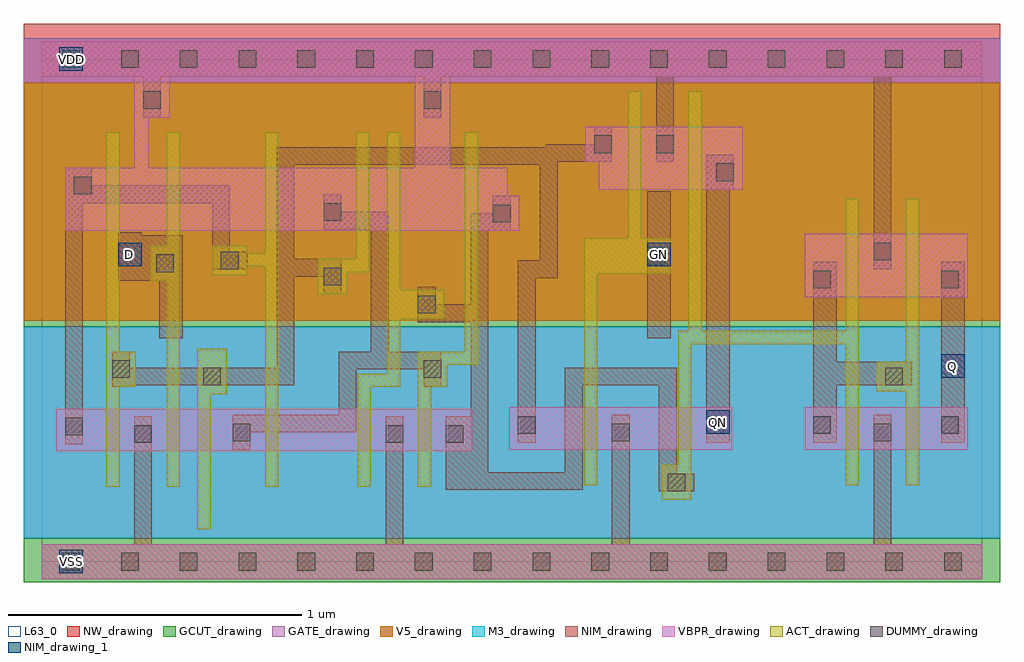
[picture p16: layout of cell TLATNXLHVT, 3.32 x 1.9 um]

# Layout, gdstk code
import gdstk
lib = gdstk.Library(unit=1e-6, precision=5e-10)
def R(c, l, rs):  # rectangles x0, y0, x1, y1
    for r in rs: c.add(gdstk.rectangle(r[:2], r[2:], *l))
def A(c, l, x, y, w, h, nx, ny, dx, dy):  # array of equal rectangles
    R(c, l, [(x+i*dx, y+j*dy, x+i*dx+w, y+j*dy+h) for i in range(nx) for j in range(ny)])
def P(c, l, *ps):  # polygons
    for p in ps: c.add(gdstk.Polygon(p, *l))
VBPR_drawing = (1, 0)
NW_drawing = (2, 0)
ACT_drawing = (3, 0)
GATE_drawing = (4, 0)
GCUT_drawing = (5, 0)
DUMMY_drawing = (6, 0)
NIM_drawing = (7, 0)
NIM_drawing_1 = (7, 1)
M3_drawing = (18, 0)
V5_drawing = (23, 0)
L63_0 = (63, 0)

tlatnxlhvt = lib.new_cell('TLATNXLHVT')
R(tlatnxlhvt, VBPR_drawing, [(0,-0.06,3.2,0.06), (0.05,0.375,1.465,0.52), (1.59,0.38,2.35,0.525), (2.595,0.38,3.15,0.525), (2.595,0.9,3.15,1.115), (0,1.65,3.2,1.77)])
P(tlatnxlhvt, VBPR_drawing, [(1.625,1.245),(1.585,1.245),(1.585,1.34),(1.39,1.34),(1.39,1.65),(1.27,1.65),(1.27,1.34),(0.365,1.34),(0.365,1.51),(0.435,1.51),(0.435,1.65),(0.315,1.65),(0.315,1.34),(0.08,1.34),(0.08,1.125),(1.625,1.125)],
  [(1.85,1.48),(2.385,1.48),(2.385,1.265),(1.895,1.265),(1.895,1.36),(1.85,1.36)])
R(tlatnxlhvt, NW_drawing, [(-0.06,0.82,3.26,1.83)])
P(tlatnxlhvt, ACT_drawing, [(1.995,1.6),(2.04,1.6),(2.04,1.1),(2.14,1.1),(2.14,0.98),(1.89,0.98),(1.89,0.26),(1.845,0.26),(1.845,1.1),(1.995,1.1)],
  [(2.2,1.6),(2.245,1.6),(2.245,0.785),(2.735,0.785),(2.735,1.235),(2.78,1.235),(2.78,0.26),(2.735,0.26),(2.735,0.74),(2.21,0.74),(2.21,0.21),(2.11,0.21),(2.11,0.33),(2.165,0.33),(2.165,0.785),(2.2,0.785)],
  [(0.22,1.46),(0.265,1.46),(0.265,0.715),(0.32,0.715),(0.32,0.595),(0.265,0.595),(0.265,0.255),(0.22,0.255)],
  [(0.425,1.46),(0.47,1.46),(0.47,0.255),(0.425,0.255),(0.425,0.955),(0.37,0.955),(0.37,1.075),(0.425,1.075)],
  [(0.58,1.075),(0.7,1.075),(0.7,1.05),(0.76,1.05),(0.76,1.46),(0.805,1.46),(0.805,0.255),(0.76,0.255),(0.76,1.005),(0.7,1.005),(0.7,0.975),(0.58,0.975)],
  [(1.07,1.46),(1.115,1.46),(1.115,0.985),(1.04,0.985),(1.04,0.91),(0.94,0.91),(0.94,1.03),(1.07,1.03)],
  [(1.175,1.46),(1.22,1.46),(1.22,0.925),(1.37,0.925),(1.37,0.825),(1.22,0.825),(1.22,0.595),(1.12,0.595),(1.12,0.255),(1.075,0.255),(1.075,0.64),(1.175,0.64)],
  [(1.44,1.46),(1.485,1.46),(1.485,0.67),(1.38,0.67),(1.38,0.595),(1.325,0.595),(1.325,0.255),(1.28,0.255),(1.28,0.715),(1.44,0.715)],
  [(2.94,1.235),(2.985,1.235),(2.985,0.26),(2.94,0.26),(2.94,0.58),(2.84,0.58),(2.84,0.68),(2.94,0.68)],
  [(0.53,0.725),(0.63,0.725),(0.63,0.57),(0.575,0.57),(0.575,0.11),(0.53,0.11)])
R(tlatnxlhvt, GATE_drawing, [(-0.06,0.08,3.26,0.8), (-0.06,1.63,3.26,1.78)])
R(tlatnxlhvt, GCUT_drawing, [(-0.06,-0.07,3.26,0.08), (-0.06,0.8,3.26,1.63)])
A(tlatnxlhvt, DUMMY_drawing, 0.07, -0.03, 0.06, 0.06, 16, 2, 0.2, 1.71)
R(tlatnxlhvt, DUMMY_drawing, [(2.13,0.24,2.19,0.3), (0.315,0.405,0.375,0.465), (1.17,0.405,1.23,0.465), (1.375,0.405,1.435,0.465), (0.65,0.41,0.71,0.47), (1.94,0.41,2,0.47), (2.83,0.41,2.89,0.47), (0.08,0.43,0.14,0.49), (1.62,0.435,1.68,0.495), (2.26,0.435,2.32,0.495), (2.625,0.435,2.685,0.495), (3.06,0.435,3.12,0.495), (0.55,0.6,0.61,0.66), (2.87,0.6,2.93,0.66), (0.24,0.625,0.3,0.685), (1.3,0.625,1.36,0.685), (1.28,0.845,1.34,0.905), (2.625,0.93,2.685,0.99), (3.06,0.93,3.12,0.99), (0.96,0.94,1.02,1), (0.39,0.985,0.45,1.045), (0.61,0.995,0.67,1.055), (2.06,1.01,2.12,1.07), (2.83,1.025,2.89,1.085), (1.535,1.155,1.595,1.215), (0.96,1.16,1.02,1.22), (0.11,1.25,0.17,1.31), (2.295,1.295,2.355,1.355), (1.88,1.39,1.94,1.45), (2.09,1.39,2.15,1.45), (0.345,1.54,0.405,1.6), (1.3,1.54,1.36,1.6)])
R(tlatnxlhvt, NIM_drawing, [(0.315,0.06,0.375,0.495), (1.17,0.06,1.23,0.495), (1.94,0.06,2,0.5), (2.83,0.06,2.89,0.5), (3.06,0.405,3.14,1.02), (2.06,0.76,2.14,1.26), (2.83,0.995,2.89,1.65), (2.09,1.36,2.15,1.65), (0.345,1.51,0.405,1.65), (1.3,1.51,1.36,1.65)])
P(tlatnxlhvt, NIM_drawing, [(1.88,1.48),(1.94,1.48),(1.94,1.36),(1.755,1.36),(1.755,0.965),(1.68,0.965),(1.68,0.405),(1.62,0.405),(1.62,1.025),(1.695,1.025),(1.695,1.35),(0.86,1.35),(0.86,1.03),(1.02,1.03),(1.02,0.91),(0.96,0.91),(0.96,0.97),(0.86,0.97),(0.86,0.6),(0.3,0.6),(0.3,0.595),(0.24,0.595),(0.24,0.715),(0.3,0.715),(0.3,0.66),(0.8,0.66),(0.8,1.41),(1.715,1.41),(1.715,1.42),(1.88,1.42)],
  [(2.26,1.385),(2.355,1.385),(2.355,1.265),(2.34,1.265),(2.34,0.405),(2.26,0.405)],
  [(0.08,1.34),(0.17,1.34),(0.17,1.28),(0.64,1.28),(0.64,1.055),(0.7,1.055),(0.7,0.995),(0.58,0.995),(0.58,1.22),(0.14,1.22),(0.14,0.4),(0.08,0.4)],
  [(0.26,1.12),(0.34,1.12),(0.34,1.11),(0.48,1.11),(0.48,0.76),(0.4,0.76),(0.4,0.955),(0.26,0.955)],
  [(0.96,1.25),(1.02,1.25),(1.02,1.19),(1.18,1.19),(1.18,0.715),(1.36,0.715),(1.36,0.595),(1.3,0.595),(1.3,0.655),(1.07,0.655),(1.07,0.44),(0.71,0.44),(0.71,0.38),(0.65,0.38),(0.65,0.5),(1.01,0.5),(1.01,0.715),(1.12,0.715),(1.12,1.13),(0.96,1.13)],
  [(1.535,1.245),(1.595,1.245),(1.595,1.125),(1.52,1.125),(1.52,0.305),(1.78,0.305),(1.78,0.66),(2.16,0.66),(2.16,0.3),(2.22,0.3),(2.22,0.24),(2.1,0.24),(2.1,0.6),(1.84,0.6),(1.84,0.245),(1.375,0.245),(1.375,0.495),(1.46,0.495),(1.46,0.815),(1.28,0.815),(1.28,0.935),(1.34,0.935),(1.34,0.875),(1.46,0.875),(1.46,1.185),(1.535,1.185)],
  [(2.625,1.02),(2.705,1.02),(2.705,0.68),(2.96,0.68),(2.96,0.6),(2.705,0.6),(2.705,0.405),(2.625,0.405)])
R(tlatnxlhvt, NIM_drawing_1, [(0.06,-0.04,0.14,0.04), (2.26,0.435,2.34,0.515), (3.06,0.625,3.14,0.705), (0.26,1.005,0.34,1.085), (2.06,1.005,2.14,1.085), (0.06,1.67,0.14,1.75)])
R(tlatnxlhvt, M3_drawing, [(-0.06,0.08,3.26,0.8)])
R(tlatnxlhvt, V5_drawing, [(-0.06,0.82,3.26,1.63)])
R(tlatnxlhvt, L63_0, [(0,0,3.2,1.71)])
tlatnxlhvt.add(gdstk.FlexPath([(0,0),(3.2,0)], 0.12, ends="flush", simple_path=True, layer=7, datatype=0))  # NIM_drawing
tlatnxlhvt.add(gdstk.FlexPath([(0,1.71),(3.2,1.71)], 0.12, ends="flush", simple_path=True, layer=7, datatype=0))  # NIM_drawing
tlatnxlhvt.add(gdstk.Label('Q', (3.1,0.665), layer=7, texttype=1))
tlatnxlhvt.add(gdstk.Label('QN', (2.3,0.475), layer=7, texttype=1))
tlatnxlhvt.add(gdstk.Label('GN', (2.1,1.045), layer=7, texttype=1))
tlatnxlhvt.add(gdstk.Label('D', (0.3,1.045), layer=7, texttype=1))
tlatnxlhvt.add(gdstk.Label('VDD', (0.1,1.71), layer=7, texttype=1))
tlatnxlhvt.add(gdstk.Label('VSS', (0.1,0), layer=7, texttype=1))
tlatnxlhvt.add(gdstk.Label('VSS', (0.1,0), layer=7, texttype=1))
tlatnxlhvt.add(gdstk.Label('VDD', (0.1,1.71), layer=7, texttype=1))
tlatnxlhvt.add(gdstk.Label('D', (0.3,1.045), layer=7, texttype=1))
tlatnxlhvt.add(gdstk.Label('GN', (2.1,1.045), layer=7, texttype=1))
tlatnxlhvt.add(gdstk.Label('QN', (2.3,0.475), layer=7, texttype=1))
tlatnxlhvt.add(gdstk.Label('Q', (3.1,0.665), layer=7, texttype=1))
tlatnxlhvt.add(gdstk.Label('TLATNXL', (0,0), layer=63, texttype=0))

lib.write_gds('TLATNXLHVT.gds')
